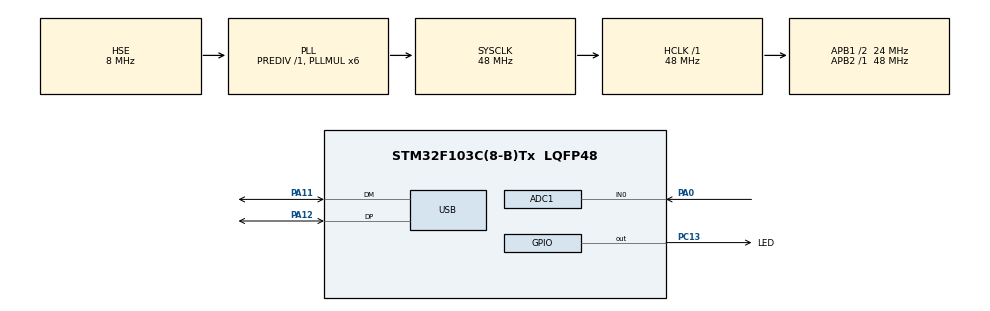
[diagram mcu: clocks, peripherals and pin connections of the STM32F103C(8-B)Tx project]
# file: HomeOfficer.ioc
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ADC1.Channel-0\#ChannelRegularConversion=ADC_CHANNEL_0
ADC1.NbrOfConversionFlag=1
ADC1.Rank-0\#ChannelRegularConversion=1
ADC1.SamplingTime-0\#ChannelRegularConversion=ADC_SAMPLETIME_1CYCLE_5
ADC1.master=1
Mcu.Family=STM32F1
Mcu.Name=STM32F103C(8-B)Tx
Mcu.Package=LQFP48
NVIC.PriorityGroup=NVIC_PRIORITYGROUP_4
NVIC.USB_LP_CAN1_RX0_IRQn=true\:0\:0\:false\:false\:true\:false\:true
PA0-WKUP.Signal=ADCx_IN0
PA11.Mode=Device
PA11.Signal=USB_DM
PA12.Mode=Device
PA12.Signal=USB_DP
PA13.Mode=Serial_Wire
PA13.Signal=SYS_JTMS-SWDIO
PA14.Mode=Serial_Wire
PA14.Signal=SYS_JTCK-SWCLK
PC13-TAMPER-RTC.GPIO_Label=LED
PC13-TAMPER-RTC.Signal=GPIO_Output
PD0-OSC_IN.Mode=HSE-External-Oscillator
PD0-OSC_IN.Signal=RCC_OSC_IN
PD1-OSC_OUT.Mode=HSE-External-Oscillator
PD1-OSC_OUT.Signal=RCC_OSC_OUT
ProjectManager.HeapSize=0x200
ProjectManager.StackSize=0x400
ProjectManager.TargetToolchain=STM32CubeIDE
RCC.ADCPresc=RCC_ADCPCLK2_DIV4
RCC.AHBFreq_Value=48000000
RCC.APB1CLKDivider=RCC_HCLK_DIV2
RCC.APB1Freq_Value=24000000
RCC.APB1TimFreq_Value=48000000
RCC.APB2Freq_Value=48000000
RCC.APB2TimFreq_Value=48000000
RCC.HCLKFreq_Value=48000000
RCC.HSICalibrationValue=8
RCC.PLLMUL=RCC_PLL_MUL6
RCC.SYSCLKFreq_VALUE=48000000
RCC.SYSCLKSource=RCC_SYSCLKSOURCE_PLLCLK
RCC.USBFreq_Value=48000000
SH.ADCx_IN0.0=ADC1_IN0,IN0
USB_DEVICE.CLASS_NAME_FS=HID
USB_DEVICE.PRODUCT_STRING_HID_FS=Home Officer
USB_DEVICE.VirtualMode=Hid
USB_DEVICE.VirtualModeFS=Hid_FS
VP_USB_DEVICE_VS_USB_DEVICE_HID_FS.Mode=HID_FS
board=custom

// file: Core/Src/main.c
 /* USER CODE BEGIN Header */
/**
  ******************************************************************************
  * @file           : main.c
  * @brief          : Main program body
  ******************************************************************************
  * @attention
  *
  * Copyright (c) 2022 STMicroelectronics.
  * All rights reserved.
  *
  * This software is licensed under terms that can be found in the LICENSE file
  * in the root directory of this software component.
  * If no LICENSE file comes with this software, it is provided AS-IS.
  *
  ******************************************************************************
  */
/* USER CODE END Header */
#include "main.h"
#include "usb_device.h"

/* USER CODE BEGIN Includes */
#include "usbd_hid.h"
/* USER CODE END Includes */

/* USER CODE BEGIN PTD */

typedef struct
{
	uint8_t button;
	int8_t mouse_x;
	int8_t mouse_y;
	int8_t wheel;
}mouseHID;

typedef enum {MoveForward, MoveBack} cursorRandState_t;

/* USER CODE END PTD */

/* USER CODE BEGIN PD */
#define MAIN_SECOND (uint32_t)(1000)
/* USER CODE END PD */

ADC_HandleTypeDef hadc1;

/* USER CODE BEGIN PV */

extern USBD_HandleTypeDef hUsbDeviceFS;

/* USER CODE END PV */

void SystemClock_Config(void);
static void MX_GPIO_Init(void);
static void MX_ADC1_Init(void);
/* USER CODE BEGIN PFP */
void MAIN_ShortcutUSB(void);
/* USER CODE END PFP */

int main(void)
{
  /* USER CODE BEGIN 1 */

	mouseHID mouseState = {0, 0, 0, 0};
	cursorRandState_t state = MoveForward;
	uint32_t lastTick = 0;
	uint32_t timeToWait = 0;

  /* USER CODE END 1 */

  /* MCU Configuration--------------------------------------------------------*/

  /* Reset of all peripherals, Initializes the Flash interface and the Systick. */
  HAL_Init();

  /* Configure the system clock */
  SystemClock_Config();

  /* USER CODE BEGIN SysInit */
  MAIN_ShortcutUSB();
  /* USER CODE END SysInit */

  /* Initialize all configured peripherals */
  MX_GPIO_Init();
  MX_ADC1_Init();
  MX_USB_DEVICE_Init();

  /* Infinite loop */
  /* USER CODE BEGIN WHILE */
  while (1)
  {

	  if(HAL_GetTick() > lastTick + timeToWait)
	  {
		  /* Why MoveForward and MoveBack ? Because otherwise would cursor once end up in a corner.. */
		  switch(state)
		  {
		  case MoveForward :
		  {
			  /*Rand X by getting ADC noise VAL*/
			  HAL_ADC_Start(&hadc1);
			  mouseState.mouse_x = (int8_t)HAL_ADC_GetValue(&hadc1)/8;
			  HAL_ADC_Stop(&hadc1);

			  /*Rand Y by getting ADC noise VAL*/
			  HAL_ADC_Start(&hadc1);
			  mouseState.mouse_y = (int8_t)HAL_ADC_GetValue(&hadc1)/8;
			  HAL_ADC_Stop(&hadc1);

			  /* Send an report to PC*/
			  USBD_HID_SendReport(&hUsbDeviceFS, (uint8_t*)&mouseState, sizeof(mouseState));

			  timeToWait = (mouseState.mouse_x & 0xF) * 500;

			  state = MoveBack;

		  }
		  break;
		  case MoveBack :
		  {
			  /* Convert coordinates to move back */
			  mouseState.mouse_x = -1*mouseState.mouse_x;
			  mouseState.mouse_y = -1*mouseState.mouse_y;

			  /* Send an report to PC*/
			  USBD_HID_SendReport(&hUsbDeviceFS, (uint8_t*)&mouseState, sizeof(mouseState));

			  state = MoveForward;

		  }
		  default :
		  {
			  state = MoveForward;
		  }
		  }

		  lastTick = HAL_GetTick();

		  /* Signalizing that device works (LED flash)*/
		  HAL_GPIO_WritePin(LED_GPIO_Port, LED_Pin, GPIO_PIN_RESET);
		  HAL_Delay(200);
		  HAL_GPIO_WritePin(LED_GPIO_Port, LED_Pin, GPIO_PIN_SET);
	  }

    /* USER CODE END WHILE */

  }
}

void SystemClock_Config(void)
{
  RCC_OscInitTypeDef RCC_OscInitStruct = {0};
  RCC_ClkInitTypeDef RCC_ClkInitStruct = {0};
  RCC_PeriphCLKInitTypeDef PeriphClkInit = {0};

  /** Initializes the RCC Oscillators according to the specified parameters
  * in the RCC_OscInitTypeDef structure.
  */
  RCC_OscInitStruct.OscillatorType = RCC_OSCILLATORTYPE_HSE;
  RCC_OscInitStruct.HSEState = RCC_HSE_ON;
  RCC_OscInitStruct.HSEPredivValue = RCC_HSE_PREDIV_DIV1;
  RCC_OscInitStruct.HSIState = RCC_HSI_ON;
  RCC_OscInitStruct.PLL.PLLState = RCC_PLL_ON;
  RCC_OscInitStruct.PLL.PLLSource = RCC_PLLSOURCE_HSE;
  RCC_OscInitStruct.PLL.PLLMUL = RCC_PLL_MUL6;
  if (HAL_RCC_OscConfig(&RCC_OscInitStruct) != HAL_OK)
  {
    Error_Handler();
  }
  /** Initializes the CPU, AHB and APB buses clocks
  */
  RCC_ClkInitStruct.ClockType = RCC_CLOCKTYPE_HCLK|RCC_CLOCKTYPE_SYSCLK
                              |RCC_CLOCKTYPE_PCLK1|RCC_CLOCKTYPE_PCLK2;
  RCC_ClkInitStruct.SYSCLKSource = RCC_SYSCLKSOURCE_PLLCLK;
  RCC_ClkInitStruct.AHBCLKDivider = RCC_SYSCLK_DIV1;
  RCC_ClkInitStruct.APB1CLKDivider = RCC_HCLK_DIV2;
  RCC_ClkInitStruct.APB2CLKDivider = RCC_HCLK_DIV1;

  if (HAL_RCC_ClockConfig(&RCC_ClkInitStruct, FLASH_LATENCY_1) != HAL_OK)
  {
    Error_Handler();
  }
  PeriphClkInit.PeriphClockSelection = RCC_PERIPHCLK_ADC|RCC_PERIPHCLK_USB;
  PeriphClkInit.AdcClockSelection = RCC_ADCPCLK2_DIV4;
  PeriphClkInit.UsbClockSelection = RCC_USBCLKSOURCE_PLL;
  if (HAL_RCCEx_PeriphCLKConfig(&PeriphClkInit) != HAL_OK)
  {
    Error_Handler();
  }
}

static void MX_ADC1_Init(void)
{

  ADC_ChannelConfTypeDef sConfig = {0};

  /** Common config
  */
  hadc1.Instance = ADC1;
  hadc1.Init.ScanConvMode = ADC_SCAN_DISABLE;
  hadc1.Init.ContinuousConvMode = DISABLE;
  hadc1.Init.DiscontinuousConvMode = DISABLE;
  hadc1.Init.ExternalTrigConv = ADC_SOFTWARE_START;
  hadc1.Init.DataAlign = ADC_DATAALIGN_RIGHT;
  hadc1.Init.NbrOfConversion = 1;
  if (HAL_ADC_Init(&hadc1) != HAL_OK)
  {
    Error_Handler();
  }
  /** Configure Regular Channel
  */
  sConfig.Channel = ADC_CHANNEL_0;
  sConfig.Rank = ADC_REGULAR_RANK_1;
  sConfig.SamplingTime = ADC_SAMPLETIME_1CYCLE_5;
  if (HAL_ADC_ConfigChannel(&hadc1, &sConfig) != HAL_OK)
  {
    Error_Handler();
  }

}

static void MX_GPIO_Init(void)
{
  GPIO_InitTypeDef GPIO_InitStruct = {0};

  /* GPIO Ports Clock Enable */
  __HAL_RCC_GPIOC_CLK_ENABLE();
  __HAL_RCC_GPIOD_CLK_ENABLE();
  __HAL_RCC_GPIOA_CLK_ENABLE();

  /*Configure GPIO pin Output Level */
  HAL_GPIO_WritePin(LED_GPIO_Port, LED_Pin, GPIO_PIN_RESET);

  /*Configure GPIO pin : LED_Pin */
  GPIO_InitStruct.Pin = LED_Pin;
  GPIO_InitStruct.Mode = GPIO_MODE_OUTPUT_PP;
  GPIO_InitStruct.Pull = GPIO_NOPULL;
  GPIO_InitStruct.Speed = GPIO_SPEED_FREQ_LOW;
  HAL_GPIO_Init(LED_GPIO_Port, &GPIO_InitStruct);

}

/* USER CODE BEGIN 4 */

void MAIN_ShortcutUSB(void)
{
	  GPIO_InitTypeDef GPIO_InitStruct = {0};

	  /* GPIO Ports Clock Enable */
	  __HAL_RCC_GPIOA_CLK_ENABLE();

	  /*Configure GPIO pin Output Level Low */
	  HAL_GPIO_WritePin(GPIOA, GPIO_PIN_12, GPIO_PIN_RESET);
	  HAL_GPIO_WritePin(GPIOA, GPIO_PIN_11, GPIO_PIN_RESET);

	  GPIO_InitStruct.Pin = GPIO_PIN_12|GPIO_PIN_11;
	  GPIO_InitStruct.Mode = GPIO_MODE_OUTPUT_PP;
	  GPIO_InitStruct.Pull = GPIO_NOPULL;
	  GPIO_InitStruct.Speed = GPIO_SPEED_FREQ_LOW;

	  HAL_GPIO_Init(GPIOA, &GPIO_InitStruct);

	  HAL_Delay(1000);

	  HAL_GPIO_DeInit(GPIOA, GPIO_PIN_12|GPIO_PIN_11);

	  __HAL_RCC_GPIOA_CLK_DISABLE();
}
/* USER CODE END 4 */

void Error_Handler(void)
{
  __disable_irq();
  while (1)
  {
  }
}
